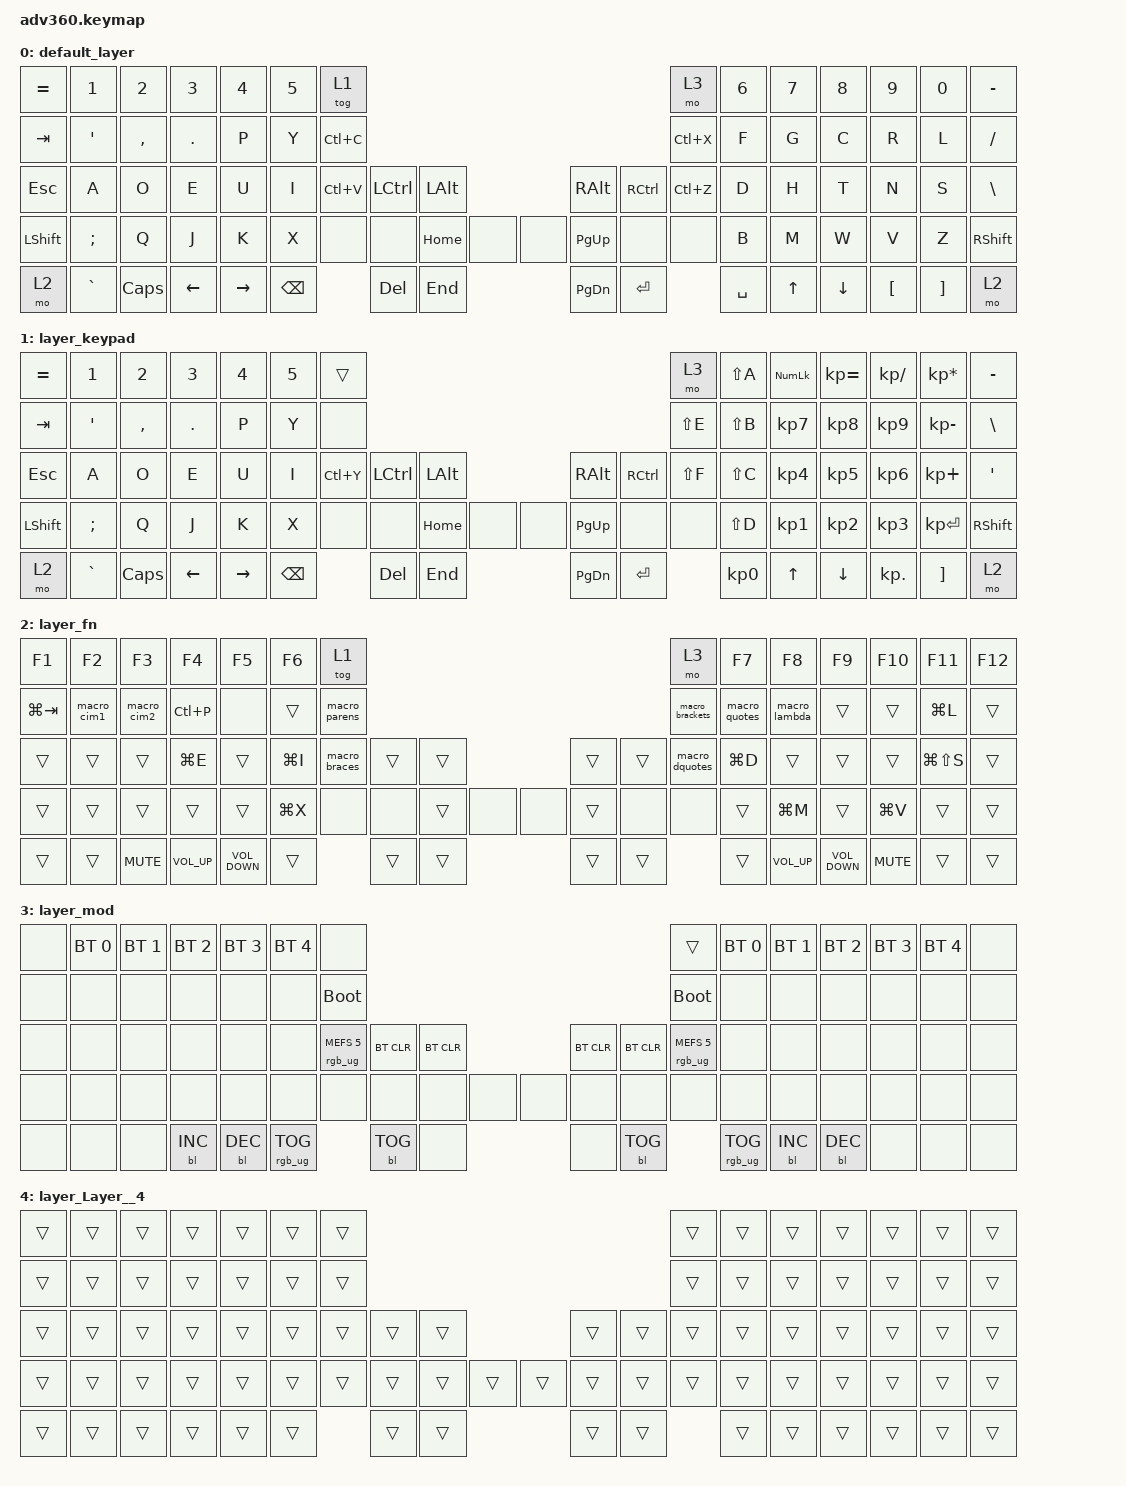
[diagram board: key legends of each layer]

/*
 * Copyright (c) 2020 The ZMK Contributors
 *
 * SPDX-License-Identifier: MIT
 */


/* THIS FILE WAS GENERATED!
 *
 * This file was generated automatically. You may or may not want to
 * edit it directly.
 */

#include <behaviors.dtsi>
#include <dt-bindings/zmk/keys.h>
#include <dt-bindings/zmk/bt.h>
#include <dt-bindings/zmk/rgb.h>
#include <dt-bindings/zmk/backlight.h>

/ {
  behaviors {
    #include "macros.dtsi"

    hm: homerow_mods {
        compatible = "zmk,behavior-hold-tap";
        label = "HOMEROW_MODS";
        #binding-cells = <2>;
        tapping-term-ms = <200>;
        quick_tap_ms = <175>;
        flavor = "tap-preferred";
        bindings = <&kp>, <&kp>;
    };
  };

    keymap {
        compatible = "zmk,keymap";


        default_layer {
            bindings = <
&kp EQUAL   &kp N1   	&kp N2    	&kp N3     	&kp N4    	&kp N5      &tog 1      																&mo 3     	&kp N6     	&kp N7  &kp N8  	&kp N9     	&kp N0  	&kp MINUS
&kp TAB    	&kp SQT  	&kp COMMA   &kp DOT     &kp P     	&kp Y		&kp LC(C)  																	&kp LC(X)	&kp F      	&kp G   &kp C   	&kp R      	&kp L   	&kp FSLH
&kp ESC     &kp A      	&kp O     	&kp E      	&kp U     	&kp I       &kp LC(V)  	&kp LCTRL   &kp LALT					&kp RALT	&kp RCTRL  	&kp LC(Z)   &kp D   	&kp H   &kp T   	&kp N   	&kp S   	&kp BSLH
&kp LSHFT   &kp SEMI    &kp Q     	&kp J      	&kp K     	&kp X		&none		&none		&kp HOME	&none	&none	&kp PG_UP	&none		&none		&kp B   	&kp M   &kp W   	&kp V   	&kp Z  		&kp RSHFT
&mo 2  		&kp GRAVE   &kp CAPS  	&kp LEFT	&kp RIGHT	&kp BSPC    			&kp DEL 	&kp END  					&kp PG_DN  	&kp ENTER 				&kp SPACE   &kp UP	&kp DOWN   	&kp LBKT  	&kp RBKT	&mo 2
            >;
        };

        layer_keypad {
            bindings = <
&kp EQUAL   &kp N1     	&kp N2    	&kp N3     	&kp N4    	&kp N5      &trans      																&mo 3  		&kp LS(A)  	&kp KP_NUM	&kp KP_EQUAL	&kp KP_DIVIDE  	&kp KP_MULTIPLY	&kp MINUS
&kp TAB    	&kp SQT  	&kp COMMA   &kp DOT     &kp P     	&kp Y       &none  																		&kp LS(E)  	&kp LS(B)  	&kp KP_N7   &kp KP_N8      	&kp KP_N9     	&kp KP_MINUS    &kp BSLH
&kp ESC     &kp A      	&kp O     	&kp E      	&kp U     	&kp I       &kp LC(Y)  	&kp LCTRL   &kp LALT                    &kp RALT    &kp RCTRL   &kp LS(F)  	&kp LS(C)  	&kp KP_N4  	&kp KP_N5  		&kp KP_N6   	&kp KP_PLUS    	&kp SQT
&kp LSHFT	&kp SEMI    &kp Q     	&kp J      	&kp K     	&kp X       &none      	&none   	&kp HOME    &none   &none   &kp PG_UP   &none       &none  		&kp LS(D)  	&kp KP_N1  	&kp KP_N2  		&kp KP_N3  		&kp KP_ENTER  	&kp RSHFT
&mo 2  		&kp GRAVE   &kp CAPS  	&kp LEFT  	&kp RIGHT  	&kp BSPC              	&kp DEL    	&kp END  					&kp PG_DN   &kp ENTER   			&kp KP_N0  	&kp UP      &kp DOWN  		&kp KP_DOT   	&kp RBKT      	&mo 2
            >;
        };

        layer_fn {
            bindings = <
&kp F1		&kp F2      &kp F3      &kp F4     		&kp F5     			&kp F6   	&tog 1            												&mo 3        		&kp F7         	&kp F8  		&kp F9				&kp F10		&kp F11			&kp F12
&kp LG(TAB) &macro_cim1 &macro_cim2 &kp LC(P)       &none     			&trans      &macro_parens  													&macro_brackets  	&macro_quotes  	&macro_lambda  	&trans      		&trans  	&kp LG(L)		&trans
&trans      &trans      &trans     	&kp LG(E)       &trans  			&kp LG(I)   &macro_braces	&trans	&trans					&trans	&trans  &macro_dquotes  	&kp LG(D)     	&trans  		&trans  			&trans  	&kp LG(LS(S))  	&trans
&trans      &trans      &trans      &trans          &trans  			&kp LG(X)   &none           &none   &trans  &none   &none   &trans  &none  	&none     			&trans  		&kp LG(M)  		&trans  			&kp LG(V)  	&trans  		&trans
&trans      &trans   	&kp C_MUTE  &kp C_VOL_UP	&kp C_VOLUME_DOWN   &trans                   	&trans  &trans         			&trans  &trans  					&trans  		&kp C_VOL_UP	&kp C_VOLUME_DOWN	&kp C_MUTE  &trans  		&trans
            >;
        };

        layer_mod {
            bindings = <
&none  &bt BT_SEL 0  &bt BT_SEL 1  	&bt BT_SEL 2  &bt BT_SEL 3  &bt BT_SEL 4		&none       																			&trans  				&bt BT_SEL 0	&bt BT_SEL 1	&bt BT_SEL 2  	&bt BT_SEL 3  	&bt BT_SEL 4	&none
&none  &none         &none         	&none         &none         &none               &bootloader  																			&bootloader 			&none       	&none           &none         	&none       	&none         	&none
&none  &none         &none         	&none         &none         &none            	&rgb_ug RGB_MEFS_CMD 5  &bt BT_CLR  &bt BT_CLR                  &bt BT_CLR  &bt BT_CLR  &rgb_ug RGB_MEFS_CMD 5  &none   		&none   		&none   		&none  			&none   		&none
&none  &none         &none         	&none         &none         &none               &none        			&none       &none      	&none	&none	&none		&none       &none   				&none   		&none   		&none   		&none   		&none   		&none
&none  &none         &none    		&bl BL_INC    &bl BL_DEC  	&rgb_ug RGB_TOG                        		&bl BL_TOG  &none         				&none   				&bl BL_TOG  			&rgb_ug RGB_TOG &bl BL_INC    	&bl BL_DEC      &none   		&none   		&none
            >;
        };

        layer_Layer__4 {
            bindings = <
 &trans  &trans  &trans  &trans  &trans  &trans            &trans  &trans  &trans  &trans  &trans  &trans  &trans  &trans
 &trans  &trans  &trans  &trans  &trans  &trans            &trans  &trans  &trans  &trans  &trans  &trans  &trans  &trans
 &trans  &trans  &trans  &trans  &trans  &trans            &trans  &trans  &trans                  &trans  &trans  &trans  &trans  &trans  &trans  &trans  &trans  &trans
 &trans  &trans  &trans  &trans  &trans  &trans            &trans  &trans  &trans  &trans  &trans  &trans  &trans  &trans  &trans  &trans  &trans  &trans  &trans  &trans
 &trans  &trans  &trans  &trans  &trans  &trans            &trans  &trans  &trans  &trans  &trans  &trans  &trans  &trans  &trans  &trans
            >;
        };

    };
};
